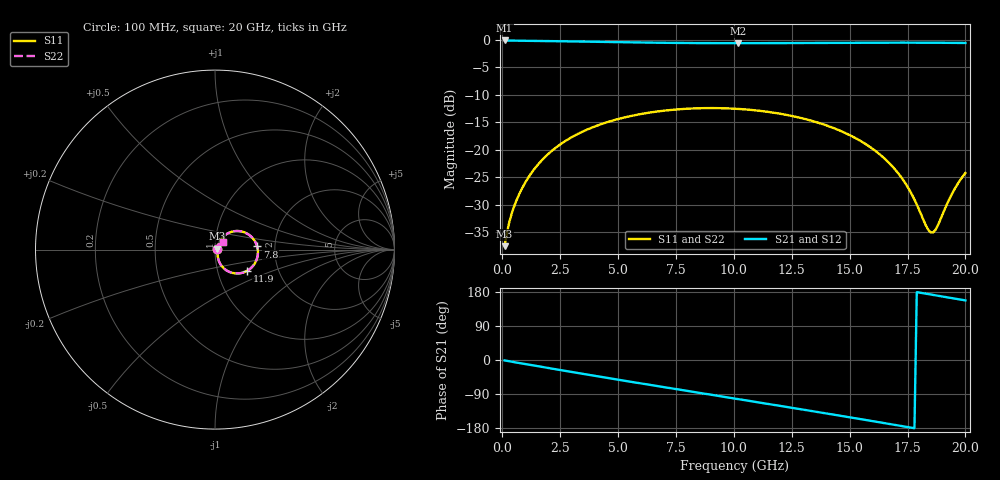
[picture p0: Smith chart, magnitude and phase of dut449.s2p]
! Touchstone file exported from HFSS 2026.1.0
!  File:  C:/ffzhzh/LocalFiles/Ansys_Project_Files/temp_train_TSV_RDL_449_1783099712_35180.aedt
!  Generated:  01:36:54 AM Jul  4, 2026
!  Design:  TSV_RDL
!  Project:  temp_train_TSV_RDL_449_1783099712_35180
! Variables:
!  h_bsmrdl = 5.72um
!  h_ox = 20um
!  h_rdl = 5um
!  h_sub = 54.47um
!  h_tmrdl = 3.47um
!  h_tsv = 54.47um
!  h_via = 3um
!  l_bsmrdl = 587.28um
!  l_sub = 3592.06um
!  l_tmrdl = 321.12um
!  m_sub = 200um
!  pitch = 34.95um
!  r_tsv = 9.84um
!  s_tmrdl = 10um
!  w_bsmrdl = 20.05um
!  w_sub = 500um
!  w_tmrdl = 28.53um
!  x_tsv_center1 = 335.385um
!  x_tsv_center2 = 942.715um
!  x_tsv_center3 = 1292.365um
!  x_tsv_center4 = 1899.695um
!  x_tsv_center5 = 2249.345um
!  x_tsv_center6 = 2856.675um
# GHz S MA R 50.000000
! Terminal data exported
! Port[1] = TM_RDL1_1_T1
! Port[2] = TM_RDL5_1_T1
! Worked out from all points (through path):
!   200 points, 100 MHz to 20 GHz, reference 50 ohm
!   highest |S21| = -0.10 dB at 100 MHz (marker M1); lowest = -0.6 dB at 10.2 GHz (marker M2)
!   group delay of S21, straight-line fit = 27.9 ps
!   lowest |S11| = -37.5 dB at 100 MHz (marker M3), VSWR 1.03, Z = 51.2 + j0.626 ohm
!   |S11| at or under -10 dB: start of sweep to end of sweep
!   |S22| runs from -37.5 to -12.4 dB; largest |S21 - S12| = 1.7e-14
!   S11 on the Smith chart (normalised r, x): 100 MHz: 1.02, +0.01; 7.8 GHz: 1.61, +0.06; 11.9 GHz: 1.39, -0.34; 20 GHz: 1.08, +0.10
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0.1  0.01333 27.3  0.9883 -1.2  0.9883 -1.2  0.01333 27.3
! Gamma 0 0 0 0
! Port Impedance 50 0 50 0
0.3  0.02193 47.0  0.9859 -3.4  0.9859 -3.4  0.02193 47.0
0.5  0.03017 53.6  0.9841 -5.5  0.9841 -5.5  0.03017 53.6
0.8  0.04247 58.2  0.9824 -8.7  0.9824 -8.7  0.04247 58.2
1.2  0.05926 59.6  0.9804 -12.9  0.9804 -12.9  0.05926 59.6
2.2  0.1004 54.8  0.9742 -23.4  0.9742 -23.4  0.1004 54.8
3.5  0.1477 43.9  0.9642 -36.8  0.9642 -36.8  0.1477 43.9
5.2  0.1955 28.2  0.9513 -54.0  0.9513 -54.0  0.1955 28.2
6.8  0.2249 13.4  0.9417 -69.8  0.9417 -69.8  0.2249 13.4
7.8  0.2355 4.2  0.9375 -79.7  0.9375 -79.7  0.2355 4.2
10.1  0.2364 -16.8  0.9335 -102.3  0.9335 -102.3  0.2365 -16.8
10.2  0.2357 -17.7  0.9335 -103.2  0.9335 -103.2  0.2358 -17.8
11.9  0.2149 -33.2  0.9352 -120.0  0.9352 -120.0  0.215 -33.2
13.4  0.183 -46.6  0.9384 -135.0  0.9384 -135.0  0.183 -46.6
15.3  0.1265 -62.4  0.9426 -154.3  0.9426 -154.3  0.1265 -62.4
16.7  0.07631 -70.7  0.9441 -168.6  0.9441 -168.6  0.07632 -70.8
17.5  0.04626 -69.6  0.9439 -176.9  0.9439 -176.9  0.04627 -69.6
18.3  0.02043 -40.1  0.9428 174.9  0.9428 174.9  0.02041 -40.2
18.5  0.01777 -18.6  0.9424 172.8  0.9424 172.8  0.01774 -18.7
18.7  0.01868 5.3  0.9419 170.7  0.9419 170.7  0.01865 5.3
19.4  0.03906 42.5  0.9398 163.5  0.9398 163.5  0.03904 42.5
20  0.06177 46.8  0.9375 157.3  0.9375 157.3  0.06175 46.8
